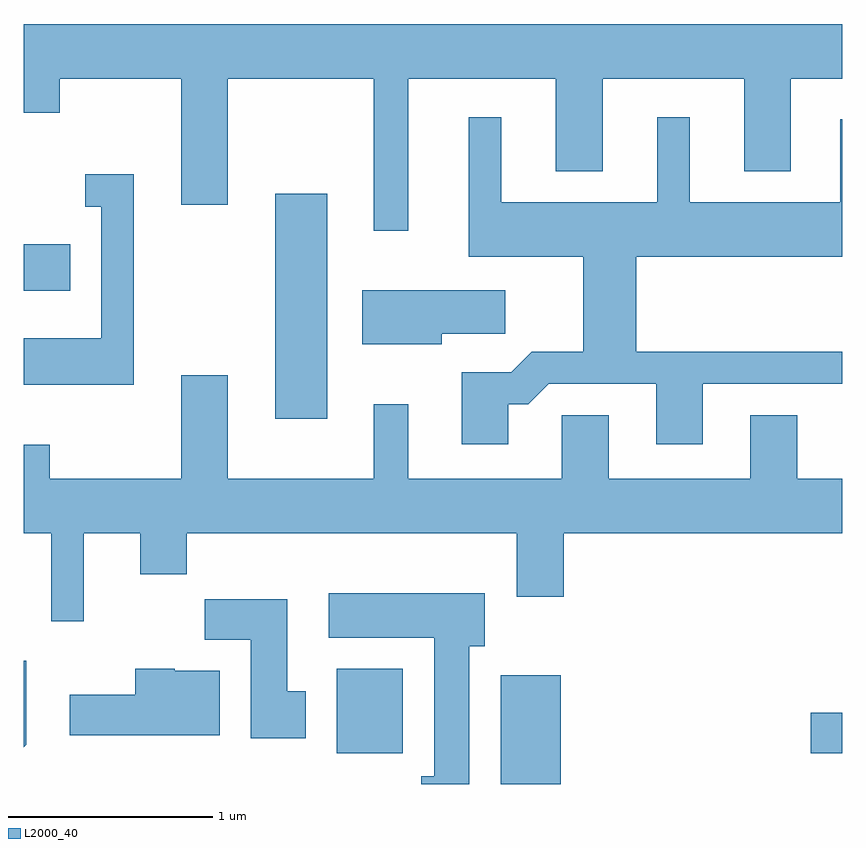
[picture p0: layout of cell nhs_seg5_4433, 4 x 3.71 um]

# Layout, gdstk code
import gdstk
lib = gdstk.Library(unit=1e-6, precision=1e-09)
def R(c, l, rs):  # rectangles x0, y0, x1, y1
    for r in rs: c.add(gdstk.rectangle(r[:2], r[2:], *l))
def P(c, l, *ps):  # polygons
    for p in ps: c.add(gdstk.Polygon(p, *l))
L2000_40 = (2000, 40)

nhs_seg5_4433 = lib.new_cell('nhs_seg5_4433')
R(nhs_seg5_4433, L2000_40, [(319.941,1400.072,320.234,1400.604), (319.141,1400.221,319.464,1400.634), (321.456,1400.221,321.611,1400.419), (318.841,1401.856,319.094,1402.954), (317.611,1402.481,317.839,1402.709)])
P(nhs_seg5_4433, L2000_40, [(319.489,1403.516),(320.211,1403.516),(320.211,1403.066),(320.439,1403.066),(320.439,1403.516),(321.131,1403.516),(321.131,1403.066),(321.359,1403.066),(321.359,1403.516),(321.611,1403.516),(321.611,1403.784),(317.611,1403.784),(317.611,1403.351),(317.789,1403.351),(317.789,1403.516),(318.381,1403.516),(318.381,1402.901),(318.609,1402.901),(318.609,1403.516),(319.321,1403.516),(319.321,1402.773),(319.489,1402.773)],
  [(319.979,1401.926),(320.077,1401.926),(320.177,1402.026),(320.701,1402.026),(320.701,1401.731),(320.929,1401.731),(320.929,1402.026),(321.611,1402.026),(321.611,1402.184),(320.604,1402.184),(320.604,1402.646),(321.611,1402.646),(321.611,1403.319),(321.601,1403.319),(321.601,1402.914),(320.864,1402.914),(320.864,1403.328),(320.706,1403.328),(320.706,1402.914),(319.944,1402.914),(319.944,1403.328),(319.786,1403.328),(319.786,1402.646),(320.346,1402.646),(320.346,1402.184),(320.094,1402.184),(319.994,1402.084),(319.751,1402.084),(319.751,1401.731),(319.979,1401.731)],
  [(318.149,1403.049),(317.913,1403.049),(317.913,1402.891),(317.991,1402.891),(317.991,1402.249),(317.611,1402.249),(317.611,1402.021),(318.149,1402.021)],
  [(319.654,1402.271),(319.964,1402.271),(319.964,1402.484),(319.266,1402.484),(319.266,1402.221),(319.654,1402.221)],
  [(317.904,1401.296),(318.181,1401.296),(318.181,1401.096),(318.409,1401.096),(318.409,1401.296),(320.021,1401.296),(320.021,1400.986),(320.249,1400.986),(320.249,1401.296),(321.611,1401.296),(321.611,1401.564),(321.389,1401.564),(321.389,1401.874),(321.161,1401.874),(321.161,1401.564),(320.469,1401.564),(320.469,1401.874),(320.241,1401.874),(320.241,1401.564),(319.489,1401.564),(319.489,1401.928),(319.321,1401.928),(319.321,1401.564),(318.609,1401.564),(318.609,1402.069),(318.381,1402.069),(318.381,1401.564),(317.739,1401.564),(317.739,1401.729),(317.611,1401.729),(317.611,1401.296),(317.746,1401.296),(317.746,1400.868),(317.904,1400.868)],
  [(319.789,1400.746),(319.864,1400.746),(319.864,1401.004),(319.101,1401.004),(319.101,1400.786),(319.616,1400.786),(319.616,1400.109),(319.553,1400.109),(319.553,1400.072),(319.789,1400.072)],
  [(318.989,1400.524),(318.899,1400.524),(318.899,1400.974),(318.496,1400.974),(318.496,1400.776),(318.721,1400.776),(318.721,1400.296),(318.989,1400.296)],
  [(317.624,1400.264),(317.624,1400.674),(317.611,1400.674),(317.611,1400.251)],
  [(318.569,1400.624),(318.35,1400.624),(318.35,1400.634),(318.156,1400.634),(318.156,1400.509),(317.836,1400.509),(317.836,1400.311),(318.569,1400.311)])

lib.write_gds('nhs_seg5_4433.gds')
